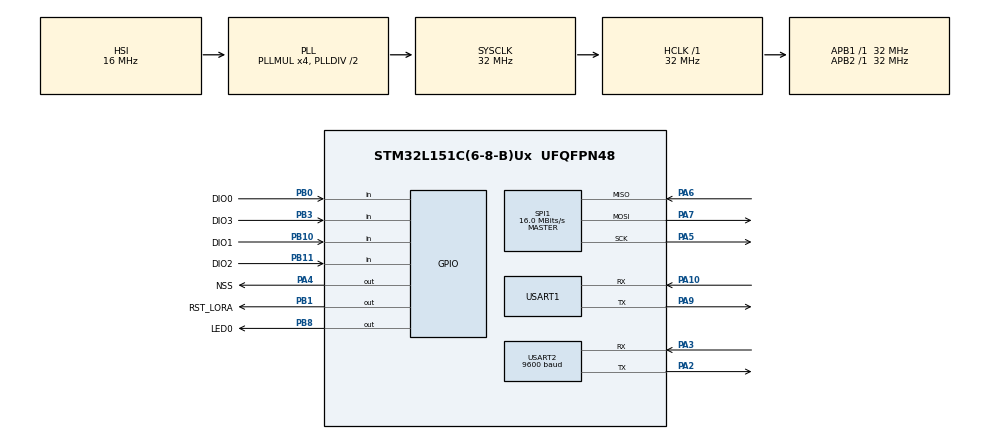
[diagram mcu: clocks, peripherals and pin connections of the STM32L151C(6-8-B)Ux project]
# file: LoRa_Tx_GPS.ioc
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Dma.MEMTOMEM.5.Direction=DMA_MEMORY_TO_MEMORY
Dma.MEMTOMEM.5.Instance=DMA1_Channel1
Dma.MEMTOMEM.5.MemDataAlignment=DMA_MDATAALIGN_BYTE
Dma.MEMTOMEM.5.MemInc=DMA_MINC_ENABLE
Dma.MEMTOMEM.5.Mode=DMA_NORMAL
Dma.MEMTOMEM.5.PeriphDataAlignment=DMA_PDATAALIGN_BYTE
Dma.MEMTOMEM.5.PeriphInc=DMA_PINC_ENABLE
Dma.MEMTOMEM.5.Priority=DMA_PRIORITY_HIGH
Dma.Request0=USART1_TX
Dma.Request1=SPI1_RX
Dma.Request2=SPI1_TX
Dma.Request3=USART2_TX
Dma.Request4=USART2_RX
Dma.Request5=MEMTOMEM
Dma.SPI1_RX.1.Direction=DMA_PERIPH_TO_MEMORY
Dma.SPI1_RX.1.Instance=DMA1_Channel2
Dma.SPI1_RX.1.MemDataAlignment=DMA_MDATAALIGN_BYTE
Dma.SPI1_RX.1.MemInc=DMA_MINC_ENABLE
Dma.SPI1_RX.1.Mode=DMA_NORMAL
Dma.SPI1_RX.1.PeriphDataAlignment=DMA_PDATAALIGN_BYTE
Dma.SPI1_RX.1.PeriphInc=DMA_PINC_DISABLE
Dma.SPI1_RX.1.Priority=DMA_PRIORITY_HIGH
Dma.SPI1_TX.2.Direction=DMA_MEMORY_TO_PERIPH
Dma.SPI1_TX.2.Instance=DMA1_Channel3
Dma.SPI1_TX.2.MemDataAlignment=DMA_MDATAALIGN_BYTE
Dma.SPI1_TX.2.MemInc=DMA_MINC_ENABLE
Dma.SPI1_TX.2.Mode=DMA_NORMAL
Dma.SPI1_TX.2.PeriphDataAlignment=DMA_PDATAALIGN_BYTE
Dma.SPI1_TX.2.PeriphInc=DMA_PINC_DISABLE
Dma.SPI1_TX.2.Priority=DMA_PRIORITY_HIGH
Dma.USART1_TX.0.Direction=DMA_MEMORY_TO_PERIPH
Dma.USART1_TX.0.Instance=DMA1_Channel4
Dma.USART1_TX.0.MemDataAlignment=DMA_MDATAALIGN_BYTE
Dma.USART1_TX.0.MemInc=DMA_MINC_ENABLE
Dma.USART1_TX.0.Mode=DMA_NORMAL
Dma.USART1_TX.0.PeriphDataAlignment=DMA_PDATAALIGN_BYTE
Dma.USART1_TX.0.PeriphInc=DMA_PINC_DISABLE
Dma.USART1_TX.0.Priority=DMA_PRIORITY_LOW
Dma.USART2_RX.4.Direction=DMA_PERIPH_TO_MEMORY
Dma.USART2_RX.4.Instance=DMA1_Channel6
Dma.USART2_RX.4.MemDataAlignment=DMA_MDATAALIGN_BYTE
Dma.USART2_RX.4.MemInc=DMA_MINC_DISABLE
Dma.USART2_RX.4.Mode=DMA_NORMAL
Dma.USART2_RX.4.PeriphDataAlignment=DMA_PDATAALIGN_BYTE
Dma.USART2_RX.4.PeriphInc=DMA_PINC_DISABLE
Dma.USART2_RX.4.Priority=DMA_PRIORITY_MEDIUM
Dma.USART2_TX.3.Direction=DMA_MEMORY_TO_PERIPH
Dma.USART2_TX.3.Instance=DMA1_Channel7
Dma.USART2_TX.3.MemDataAlignment=DMA_MDATAALIGN_BYTE
Dma.USART2_TX.3.MemInc=DMA_MINC_ENABLE
Dma.USART2_TX.3.Mode=DMA_NORMAL
Dma.USART2_TX.3.PeriphDataAlignment=DMA_PDATAALIGN_BYTE
Dma.USART2_TX.3.PeriphInc=DMA_PINC_DISABLE
Dma.USART2_TX.3.Priority=DMA_PRIORITY_LOW
IWDG.Prescaler=IWDG_PRESCALER_32
IWDG.Reload=3000
Mcu.Family=STM32L1
Mcu.Name=STM32L151C(6-8-B)Ux
Mcu.Package=UFQFPN48
NVIC.DMA1_Channel2_IRQn=true\:0\:0\:false\:false\:true\:false\:true
NVIC.DMA1_Channel3_IRQn=true\:0\:0\:false\:false\:true\:false\:true
NVIC.DMA1_Channel4_IRQn=true\:0\:0\:false\:false\:true\:false\:true
NVIC.DMA1_Channel6_IRQn=true\:0\:0\:false\:false\:true\:false\:true
NVIC.DMA1_Channel7_IRQn=true\:0\:0\:false\:false\:true\:false\:true
NVIC.PriorityGroup=NVIC_PRIORITYGROUP_4
NVIC.TIM6_IRQn=true\:0\:0\:false\:false\:true\:true\:true
NVIC.USART2_IRQn=true\:0\:0\:false\:false\:true\:true\:true
PA10.Mode=Asynchronous
PA10.Signal=USART1_RX
PA13.Mode=Serial_Wire
PA13.Signal=SYS_JTMS-SWDIO
PA14.Mode=Serial_Wire
PA14.Signal=SYS_JTCK-SWCLK
PA2.Mode=Asynchronous
PA2.Signal=USART2_TX
PA3.Mode=Asynchronous
PA3.Signal=USART2_RX
PA4.GPIO_Label=NSS
PA4.Signal=GPIO_Output
PA5.Mode=Full_Duplex_Master
PA5.Signal=SPI1_SCK
PA6.Mode=Full_Duplex_Master
PA6.Signal=SPI1_MISO
PA7.Mode=Full_Duplex_Master
PA7.Signal=SPI1_MOSI
PA9.Mode=Asynchronous
PA9.Signal=USART1_TX
PB0.GPIO_Label=DIO0
PB0.Signal=GPIO_Input
PB1.GPIO_Label=RST_LORA
PB1.Signal=GPIO_Output
PB10.GPIO_Label=DIO1
PB10.Signal=GPIO_Input
PB11.GPIO_Label=DIO2
PB11.Signal=GPIO_Input
PB3.GPIO_Label=DIO3
PB3.Signal=GPIO_Input
PB8.GPIO_Label=LED0
PB8.Signal=GPIO_Output
PC14-OSC32_IN.Mode=LSE-External-Oscillator
PC14-OSC32_IN.Signal=RCC_OSC32_IN
PC15-OSC32_OUT.Mode=LSE-External-Oscillator
PC15-OSC32_OUT.Signal=RCC_OSC32_OUT
ProjectManager.HeapSize=0x200
ProjectManager.StackSize=0x400
ProjectManager.TargetToolchain=STM32CubeIDE
RCC.48MHZClocksFreq_Value=32000000
RCC.AHBFreq_Value=32000000
RCC.APB1Freq_Value=32000000
RCC.APB1TimFreq_Value=32000000
RCC.APB2Freq_Value=32000000
RCC.APB2TimFreq_Value=32000000
RCC.HCLKFreq_Value=32000000
RCC.HSE_VALUE=24000000
RCC.HSI_VALUE=16000000
RCC.MSI_VALUE=2097000
RCC.PLLMUL=RCC_PLL_MUL4
RCC.SYSCLKFreq_VALUE=32000000
RCC.SYSCLKSource=RCC_SYSCLKSOURCE_PLLCLK
RCC.VCOOutputFreq_Value=64000000
SPI1.BaudRatePrescaler=SPI_BAUDRATEPRESCALER_2
SPI1.CalculateBaudRate=16.0 MBits/s
SPI1.Direction=SPI_DIRECTION_2LINES
SPI1.Mode=SPI_MODE_MASTER
SPI1.VirtualType=VM_MASTER
TIM6.Period=5000
TIM6.Prescaler=32000
USART1.VirtualMode=VM_ASYNC
USART2.BaudRate=9600
USART2.Mode=MODE_TX_RX
USART2.VirtualMode=VM_ASYNC
VP_IWDG_VS_IWDG.Mode=IWDG_Activate
VP_TIM6_VS_ClockSourceINT.Mode=Enable_Timer
board=custom

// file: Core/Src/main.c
/* USER CODE BEGIN Header */
/**
  ******************************************************************************
  * @file           : main.c
  * @brief          : Main program body
  ******************************************************************************
  * @attention
  *
  * <h2><center>&copy; Copyright (c) 2020 STMicroelectronics.
  * All rights reserved.</center></h2>
  *
  * This software component is licensed by ST under BSD 3-Clause license,
  * the "License"; You may not use this file except in compliance with the
  * License. You may obtain a copy of the License at:
  *                        opensource.org/licenses/BSD-3-Clause
  *
  ******************************************************************************
  */
/* USER CODE END Header */

#include "main.h"
#include "dma.h"
#include "iwdg.h"
#include "spi.h"
#include "tim.h"
#include "usart.h"
#include "gpio.h"

/* USER CODE BEGIN PM */
#ifdef __GNUC__
	#define PUTCHAR_PROTOTYPE int __io_putchar(int ch)
#else
	#define PUTCHAR_PROTOTYPE int fputc(int ch, FILE *f)
#endif
PUTCHAR_PROTOTYPE
{
	HAL_UART_Transmit(&huart1, (uint8_t *)&ch, 1, 0xFFFF);
	return 0;
}
/* USER CODE END PM */

/* USER CODE BEGIN PV */
extern SX1278_hw_t SX1278_hw;
extern SX1278_t SX1278;

extern uint8_t timerInterrupt;
unsigned long ticks;
/* USER CODE END PV */

void SystemClock_Config(void);

int main(void)
{

  /* MCU Configuration--------------------------------------------------------*/

  /* Reset of all peripherals, Initializes the Flash interface and the Systick. */
  HAL_Init();

  /* Configure the system clock */
  SystemClock_Config();

  /* Initialize all configured peripherals */
  MX_GPIO_Init();
  MX_DMA_Init();
  MX_SPI1_Init();
  MX_USART1_UART_Init();
  MX_TIM6_Init();
  MX_IWDG_Init();
  MX_USART2_UART_Init();
  /* USER CODE BEGIN 2 */
  HAL_IWDG_Refresh(&hiwdg);
  ticks = 0;

  initialiseDevices();

  HAL_IWDG_Refresh(&hiwdg);
  HAL_TIM_Base_Start_IT(&htim6);
  /* USER CODE END 2 */

  /* Infinite loop */
  /* USER CODE BEGIN WHILE */

  while (1)
  {
	if(timerInterrupt == 1)
	{
		rfTxMessages();

		timerInterrupt = 0;
	}
    /* USER CODE END WHILE */
	idleProcess();
	HAL_Delay(10);
  }
}

void SystemClock_Config(void)
{
  RCC_OscInitTypeDef RCC_OscInitStruct = {0};
  RCC_ClkInitTypeDef RCC_ClkInitStruct = {0};

  /** Configure the main internal regulator output voltage
  */
  __HAL_PWR_VOLTAGESCALING_CONFIG(PWR_REGULATOR_VOLTAGE_SCALE1);
  /** Initializes the CPU, AHB and APB busses clocks
  */
  RCC_OscInitStruct.OscillatorType = RCC_OSCILLATORTYPE_HSI|RCC_OSCILLATORTYPE_LSI;
  RCC_OscInitStruct.HSIState = RCC_HSI_ON;
  RCC_OscInitStruct.HSICalibrationValue = RCC_HSICALIBRATION_DEFAULT;
  RCC_OscInitStruct.LSIState = RCC_LSI_ON;
  RCC_OscInitStruct.PLL.PLLState = RCC_PLL_ON;
  RCC_OscInitStruct.PLL.PLLSource = RCC_PLLSOURCE_HSI;
  RCC_OscInitStruct.PLL.PLLMUL = RCC_PLL_MUL4;
  RCC_OscInitStruct.PLL.PLLDIV = RCC_PLL_DIV2;
  if (HAL_RCC_OscConfig(&RCC_OscInitStruct) != HAL_OK)
  {
    Error_Handler();
  }
  /** Initializes the CPU, AHB and APB busses clocks
  */
  RCC_ClkInitStruct.ClockType = RCC_CLOCKTYPE_HCLK|RCC_CLOCKTYPE_SYSCLK
                              |RCC_CLOCKTYPE_PCLK1|RCC_CLOCKTYPE_PCLK2;
  RCC_ClkInitStruct.SYSCLKSource = RCC_SYSCLKSOURCE_PLLCLK;
  RCC_ClkInitStruct.AHBCLKDivider = RCC_SYSCLK_DIV1;
  RCC_ClkInitStruct.APB1CLKDivider = RCC_HCLK_DIV1;
  RCC_ClkInitStruct.APB2CLKDivider = RCC_HCLK_DIV1;

  if (HAL_RCC_ClockConfig(&RCC_ClkInitStruct, FLASH_LATENCY_1) != HAL_OK)
  {
    Error_Handler();
  }
}

void Error_Handler(void)
{
}

/************************ (C) COPYRIGHT STMicroelectronics *****END OF FILE****/
